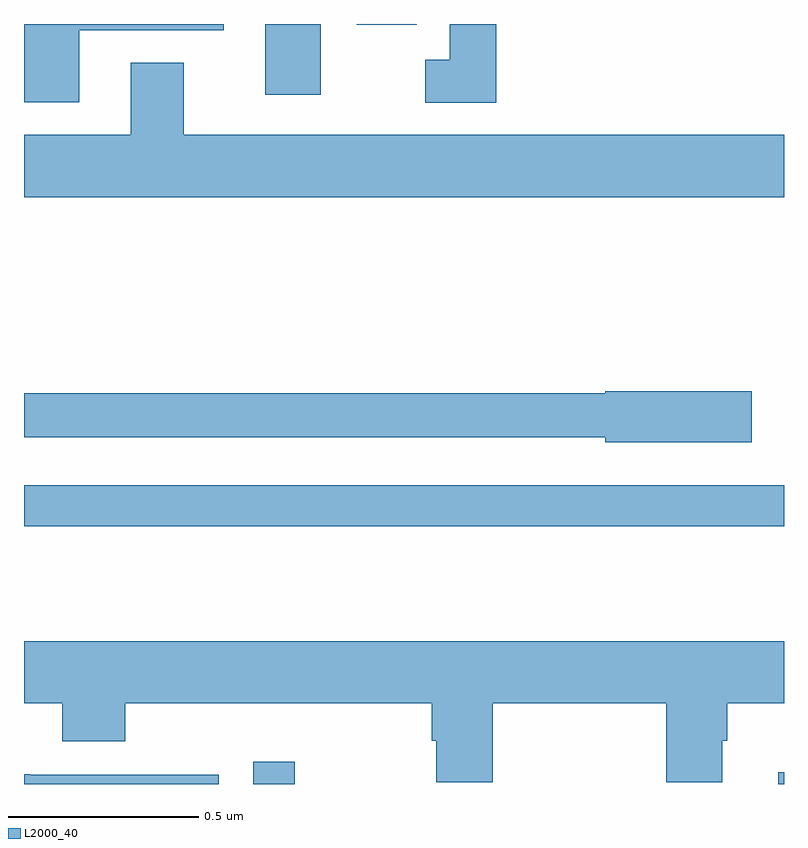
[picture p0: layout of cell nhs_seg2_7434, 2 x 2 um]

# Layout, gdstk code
import gdstk
lib = gdstk.Library(unit=1e-6, precision=1e-09)
def R(c, l, rs):  # rectangles x0, y0, x1, y1
    for r in rs: c.add(gdstk.rectangle(r[:2], r[2:], *l))
def P(c, l, *ps):  # polygons
    for p in ps: c.add(gdstk.Polygon(p, *l))
L2000_40 = (2000, 40)

nhs_seg2_7434 = lib.new_cell('nhs_seg2_7434')
R(nhs_seg2_7434, L2000_40, [(204.603,604.8,204.712,604.858), (205.985,604.8,206,604.831), (204,605.478,206,605.586), (204.635,606.614,204.781,606.8), (204.875,606.798,205.033,606.8)])
P(nhs_seg2_7434, L2000_40, [(205.243,606.8),(205.121,606.8),(205.121,606.706),(205.056,606.706),(205.056,606.593),(205.243,606.593)],
  [(204.145,606.783),(204.525,606.783),(204.525,606.8),(204,606.8),(204,606.594),(204.145,606.594)],
  [(206,606.508),(204.421,606.508),(204.421,606.698),(204.281,606.698),(204.281,606.508),(204,606.508),(204,606.344),(206,606.344)],
  [(205.915,605.834),(205.53,605.834),(205.53,605.828),(204,605.828),(204,605.712),(205.53,605.712),(205.53,605.699),(205.915,605.699)],
  [(205.233,605.012),(205.69,605.012),(205.69,604.804),(205.837,604.804),(205.837,604.914),(205.85,604.914),(205.85,605.012),(206,605.012),(206,605.176),(204,605.176),(204,605.012),(204.101,605.012),(204.101,604.913),(204.266,604.913),(204.266,605.012),(205.073,605.012),(205.073,604.914),(205.085,604.914),(205.085,604.804),(205.233,604.804)],
  [(204.513,604.824),(204.017,604.824),(204.017,604.826),(204,604.826),(204,604.8),(204.513,604.8)])

lib.write_gds('nhs_seg2_7434.gds')
